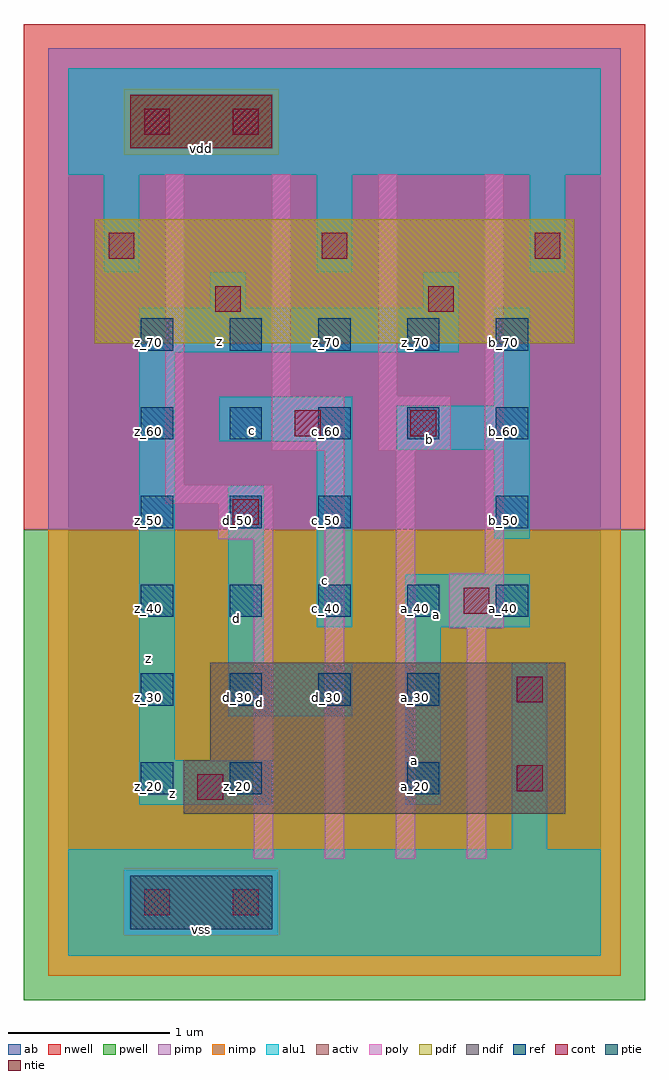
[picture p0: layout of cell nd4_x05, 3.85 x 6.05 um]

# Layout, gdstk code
import gdstk
lib = gdstk.Library(unit=1e-6, precision=2.5e-09)
def R(c, l, rs):  # rectangles x0, y0, x1, y1
    for r in rs: c.add(gdstk.rectangle(r[:2], r[2:], *l))
def A(c, l, x, y, w, h, nx, ny, dx, dy):  # array of equal rectangles
    R(c, l, [(x+i*dx, y+j*dy, x+i*dx+w, y+j*dy+h) for i in range(nx) for j in range(ny)])
ndif = (3, 0)
pdif = (4, 0)
ntie = (5, 0)
ptie = (6, 0)
ref = (24, 0)
cont = (25, 0)
pwell = (41, 0)
nwell = (42, 0)
activ = (43, 0)
pimp = (44, 0)
nimp = (45, 0)
poly = (46, 0)
alu1 = (49, 0)
ab = (63, 0)

nd4_x05 = lib.new_cell('nd4_x05')
R(nd4_x05, ndif, [(0.715,0.88,3.08,1.21), (0.88,1.21,3.08,1.815)])
R(nd4_x05, pdif, [(0.165,3.795,3.135,4.565)])
R(nd4_x05, ntie, [(0.385,5.005,1.265,5.335)])
R(nd4_x05, ptie, [(0.385,0.165,1.265,0.495)])
A(nd4_x05, ref, 0.45, 1.55, 0.2, 0.2, 4, 1, 0.55, 0)
A(nd4_x05, ref, 0.45, 2.1, 0.2, 0.2, 5, 2, 0.55, 1.1)
A(nd4_x05, ref, 0.45, 2.65, 0.2, 0.2, 3, 1, 0.55, 0)
A(nd4_x05, ref, 0.45, 3.75, 0.2, 0.2, 5, 1, 0.55, 0)
R(nd4_x05, ref, [(0.45,1,0.65,1.2), (1,1,1.2,1.2), (2.1,1,2.3,1.2), (2.65,2.65,2.85,2.85)])
A(nd4_x05, cont, 1.02, 0.25, 0.16, 0.16, 1, 3, 0, 2.42)
A(nd4_x05, cont, 0.25, 4.32, 0.16, 0.16, 3, 1, 1.32, 0)
R(nd4_x05, cont, [(0.47,0.25,0.63,0.41), (0.8,0.965,0.96,1.125), (2.78,1.02,2.94,1.18), (2.78,1.57,2.94,1.73), (2.45,2.12,2.61,2.28), (1.405,3.22,1.565,3.38), (2.12,3.22,2.28,3.38), (0.91,3.99,1.07,4.15), (2.23,3.99,2.39,4.15), (0.47,5.09,0.63,5.25)])
R(nd4_x05, pwell, [(-0.275,-0.275,3.575,2.64)])
R(nd4_x05, nwell, [(-0.275,2.64,3.575,5.775)])
R(nd4_x05, activ, [(0.385,0.165,1.265,0.495), (0.715,0.88,3.08,1.21), (0.88,1.21,3.08,1.815), (0.165,3.795,3.135,4.565), (0.385,5.005,1.265,5.335)])
R(nd4_x05, pimp, [(0.345,0.125,1.305,0.535), (-0.125,2.64,3.425,4.965), (-0.125,4.965,0.345,5.375), (1.305,4.965,3.425,5.375), (-0.125,5.375,3.425,5.625)])
R(nd4_x05, nimp, [(-0.125,-0.125,3.425,0.125), (-0.125,0.125,0.345,0.535), (1.305,0.125,3.425,0.535), (-0.125,0.535,3.425,2.64), (0.345,4.965,1.305,5.375)])
R(nd4_x05, poly, [(1.15,0.6,1.27,2.58), (1.59,0.6,1.71,3.13), (2.03,0.6,2.15,3.13), (2.47,0.6,2.59,2.03), (2.36,2.03,2.7,2.37), (2.58,2.37,2.7,4.845), (0.93,2.58,1.27,2.8), (0.6,2.8,1.27,2.92), (0.6,2.92,0.72,4.845), (1.26,3.13,1.71,3.47), (1.92,3.13,2.37,3.47), (1.26,3.47,1.38,4.845), (1.92,3.47,2.04,4.845)])
A(nd4_x05, alu1, 0.22, 4.235, 0.22, 0.605, 3, 1, 1.32, 0)
R(nd4_x05, alu1, [(0,0,3.3,0.66), (2.75,0.66,2.97,1.815), (0.44,0.935,1.265,1.21), (2.09,0.935,2.31,2.035), (0.44,1.21,0.66,3.74), (0.99,1.485,1.76,1.815), (0.99,1.815,1.21,2.915), (1.54,2.035,1.76,3.19), (2.09,2.035,2.86,2.365), (2.64,2.585,2.86,3.135), (2.035,3.135,2.86,3.41), (0.935,3.19,1.76,3.465), (2.64,3.41,2.86,4.015), (0.44,3.74,2.42,4.015), (0.88,4.015,1.1,4.235), (2.2,4.015,2.42,4.235), (0,4.84,3.3,5.5)])
R(nd4_x05, ab, [(0,0,3.3,5.5)])
nd4_x05.add(gdstk.Label('vss', (0.825,0.165), layer=49, texttype=0))
nd4_x05.add(gdstk.Label('a', (2.145,1.21), layer=49, texttype=0))
nd4_x05.add(gdstk.Label('z', (0.645,1.0025), layer=49, texttype=0))
nd4_x05.add(gdstk.Label('d', (1.1825,1.5675), layer=49, texttype=0))
nd4_x05.add(gdstk.Label('a', (2.2825,2.1175), layer=49, texttype=0))
nd4_x05.add(gdstk.Label('b', (2.24,3.2025), layer=49, texttype=0))
nd4_x05.add(gdstk.Label('c', (1.595,2.3225), layer=49, texttype=0))
nd4_x05.add(gdstk.Label('d', (1.045,2.09), layer=49, texttype=0))
nd4_x05.add(gdstk.Label('c', (1.14,3.2575), layer=49, texttype=0))
nd4_x05.add(gdstk.Label('z', (0.495,1.8425), layer=49, texttype=0))
nd4_x05.add(gdstk.Label('z', (0.935,3.8075), layer=49, texttype=0))
nd4_x05.add(gdstk.Label('vdd', (0.825,5.005), layer=49, texttype=0))
nd4_x05.add(gdstk.Label('a_40', (2.15,2.15), layer=24, texttype=0))
nd4_x05.add(gdstk.Label('c_40', (1.6,2.15), layer=24, texttype=0))
nd4_x05.add(gdstk.Label('d_30', (1.05,1.6), layer=24, texttype=0))
nd4_x05.add(gdstk.Label('z_20', (1.05,1.05), layer=24, texttype=0))
nd4_x05.add(gdstk.Label('z_20', (0.5,1.05), layer=24, texttype=0))
nd4_x05.add(gdstk.Label('d_30', (1.6,1.6), layer=24, texttype=0))
nd4_x05.add(gdstk.Label('a_40', (2.7,2.15), layer=24, texttype=0))
nd4_x05.add(gdstk.Label('b_70', (2.7,3.8), layer=24, texttype=0))
nd4_x05.add(gdstk.Label('z_70', (1.6,3.8), layer=24, texttype=0))
nd4_x05.add(gdstk.Label('z_40', (0.5,2.15), layer=24, texttype=0))
nd4_x05.add(gdstk.Label('b_60', (2.15,3.25), layer=24, texttype=0))
nd4_x05.add(gdstk.Label('c_60', (1.05,3.25), layer=24, texttype=0))
nd4_x05.add(gdstk.Label('c_60', (1.6,3.25), layer=24, texttype=0))
nd4_x05.add(gdstk.Label('d_50', (1.05,2.7), layer=24, texttype=0))
nd4_x05.add(gdstk.Label('z_60', (0.5,3.25), layer=24, texttype=0))
nd4_x05.add(gdstk.Label('z_70', (2.15,3.8), layer=24, texttype=0))
nd4_x05.add(gdstk.Label('z_50', (0.5,2.7), layer=24, texttype=0))
nd4_x05.add(gdstk.Label('z_70', (1.05,3.8), layer=24, texttype=0))
nd4_x05.add(gdstk.Label('z_70', (0.5,3.8), layer=24, texttype=0))
nd4_x05.add(gdstk.Label('d_40', (1.05,2.15), layer=24, texttype=0))
nd4_x05.add(gdstk.Label('c_50', (1.6,2.7), layer=24, texttype=0))
nd4_x05.add(gdstk.Label('z_30', (0.5,1.6), layer=24, texttype=0))
nd4_x05.add(gdstk.Label('b_60', (2.7,3.25), layer=24, texttype=0))
nd4_x05.add(gdstk.Label('a_30', (2.15,1.6), layer=24, texttype=0))
nd4_x05.add(gdstk.Label('a_20', (2.15,1.05), layer=24, texttype=0))
nd4_x05.add(gdstk.Label('b_50', (2.7,2.7), layer=24, texttype=0))

lib.write_gds('nd4_x05.gds')
